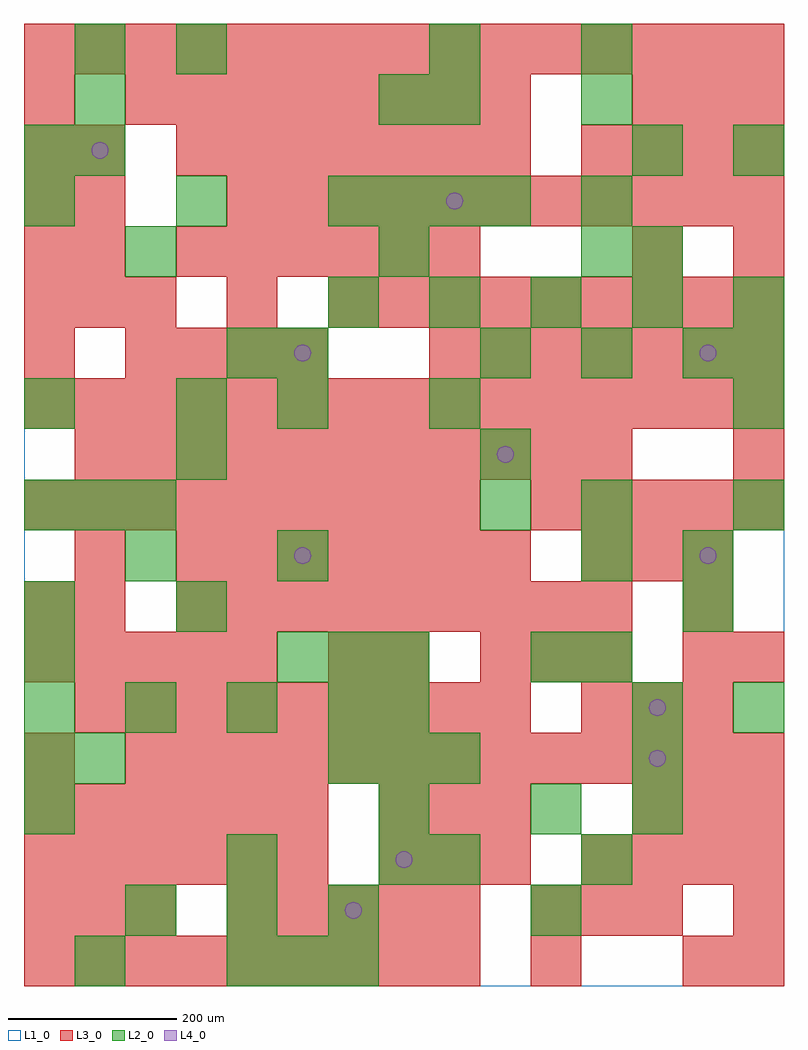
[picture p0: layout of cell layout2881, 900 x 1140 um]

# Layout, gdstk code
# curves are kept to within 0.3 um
import gdstk
lib = gdstk.Library(unit=1e-6, precision=1e-09)
def R(c, l, rs):  # rectangles x0, y0, x1, y1
    for r in rs: c.add(gdstk.rectangle(r[:2], r[2:], *l))
def A(c, l, x, y, w, h, nx, ny, dx, dy):  # array of equal rectangles
    R(c, l, [(x+i*dx, y+j*dy, x+i*dx+w, y+j*dy+h) for i in range(nx) for j in range(ny)])
def P(c, l, *ps):  # polygons
    for p in ps: c.add(gdstk.Polygon(p, *l))
L1_0 = (1, 0)
L2_0 = (2, 0)
L3_0 = (3, 0)
L4_0 = (4, 0)

layout2881 = lib.new_cell('layout2881')
R(layout2881, L1_0, [(0,0,900,1140)])
A(layout2881, L2_0, 240, 0, 60, 60, 3, 1, 60, 0)
A(layout2881, L2_0, 120, 60, 60, 60, 3, 1, 120, 0)
A(layout2881, L2_0, 720, 180, 60, 60, 1, 3, 0, 60)
A(layout2881, L2_0, 360, 240, 60, 60, 3, 1, 60, 0)
A(layout2881, L2_0, 0, 300, 60, 60, 4, 1, 120, 0)
A(layout2881, L2_0, 300, 360, 60, 60, 3, 1, 60, 0)
A(layout2881, L2_0, 0, 540, 60, 60, 3, 1, 60, 0)
A(layout2881, L2_0, 540, 720, 60, 60, 3, 1, 120, 0)
A(layout2881, L2_0, 360, 780, 60, 60, 5, 1, 120, 0)
A(layout2881, L2_0, 0, 900, 60, 60, 3, 1, 180, 0)
A(layout2881, L2_0, 420, 900, 60, 60, 3, 1, 60, 0)
A(layout2881, L2_0, 60, 960, 60, 60, 1, 3, 0, 60)
R(layout2881, L2_0, [(60,0,120,60), (600,60,660,120), (240,120,300,180), (420,120,480,180), (480,120,540,180), (660,120,720,180), (0,180,60,240), (420,180,480,240), (600,180,660,240), (0,240,60,300), (60,240,120,300), (420,300,480,360), (840,300,900,360), (0,360,60,420), (600,360,660,420), (660,360,720,420), (0,420,60,480), (180,420,240,480), (780,420,840,480), (120,480,180,540), (300,480,360,540), (660,480,720,540), (780,480,840,540), (540,540,600,600), (660,540,720,600), (840,540,900,600), (180,600,240,660), (540,600,600,660), (0,660,60,720), (180,660,240,720), (300,660,360,720), (480,660,540,720), (840,660,900,720), (240,720,300,780), (300,720,360,780), (840,720,900,780), (120,840,180,900), (420,840,480,900), (660,840,720,900), (720,840,780,900), (660,900,720,960), (0,960,60,1020), (720,960,780,1020), (840,960,900,1020), (420,1020,480,1080), (480,1020,540,1080), (660,1020,720,1080), (180,1080,240,1140), (480,1080,540,1140), (660,1080,720,1140)])
A(layout2881, L3_0, 0, 0, 60, 60, 9, 2, 60, 540)
A(layout2881, L3_0, 0, 60, 60, 60, 3, 2, 60, 720)
A(layout2881, L3_0, 240, 60, 60, 60, 5, 1, 60, 0)
A(layout2881, L3_0, 600, 60, 60, 60, 3, 1, 60, 0)
A(layout2881, L3_0, 0, 120, 60, 60, 6, 2, 60, 60)
A(layout2881, L3_0, 420, 120, 60, 60, 3, 2, 60, 60)
A(layout2881, L3_0, 660, 120, 60, 60, 4, 2, 60, 840)
A(layout2881, L3_0, 720, 180, 60, 60, 3, 2, 60, 840)
A(layout2881, L3_0, 120, 240, 60, 60, 13, 1, 60, 0)
A(layout2881, L3_0, 60, 300, 60, 60, 9, 1, 60, 0)
A(layout2881, L3_0, 660, 300, 60, 60, 3, 2, 60, 180)
A(layout2881, L3_0, 0, 360, 60, 60, 5, 1, 60, 0)
A(layout2881, L3_0, 540, 360, 60, 60, 3, 1, 60, 0)
A(layout2881, L3_0, 840, 360, 60, 60, 1, 3, 0, 240)
A(layout2881, L3_0, 180, 420, 60, 60, 9, 1, 60, 0)
A(layout2881, L3_0, 180, 480, 60, 60, 7, 2, 60, 480)
A(layout2881, L3_0, 600, 540, 60, 60, 5, 1, 60, 0)
A(layout2881, L3_0, 60, 600, 60, 60, 11, 1, 60, 0)
A(layout2881, L3_0, 0, 660, 60, 60, 15, 2, 60, 420)
A(layout2881, L3_0, 120, 720, 60, 60, 4, 1, 60, 0)
A(layout2881, L3_0, 480, 720, 60, 60, 7, 1, 60, 0)
A(layout2881, L3_0, 360, 780, 60, 60, 9, 1, 60, 0)
A(layout2881, L3_0, 0, 840, 60, 60, 1, 4, 0, 60)
A(layout2881, L3_0, 60, 840, 60, 60, 1, 3, 0, 60)
A(layout2881, L3_0, 180, 840, 60, 60, 6, 1, 60, 0)
A(layout2881, L3_0, 240, 900, 60, 60, 11, 1, 60, 0)
A(layout2881, L3_0, 120, 1020, 60, 60, 8, 1, 60, 0)
R(layout2881, L3_0, [(600,0,660,60), (780,0,840,60), (840,0,900,60), (840,60,900,120), (0,240,60,300), (360,360,420,420), (420,360,480,420), (780,360,840,420), (0,420,60,480), (60,420,120,480), (780,420,840,480), (60,480,120,540), (0,720,60,780), (240,780,300,840), (720,840,780,900)])
P(layout2881, L4_0, [(100,990),(99.239,993.827),(97.071,997.071),(93.827,999.239),(90,1000),(86.173,999.239),(82.929,997.071),(80.761,993.827),(80,990),(80.761,986.173),(82.929,982.929),(86.173,980.761),(90,980),(93.827,980.761),(97.071,982.929),(99.239,986.173)],
  [(340,510),(339.239,513.827),(337.071,517.071),(333.827,519.239),(330,520),(326.173,519.239),(322.929,517.071),(320.761,513.827),(320,510),(320.761,506.173),(322.929,502.929),(326.173,500.761),(330,500),(333.827,500.761),(337.071,502.929),(339.239,506.173)],
  [(340,750),(339.239,753.827),(337.071,757.071),(333.827,759.239),(330,760),(326.173,759.239),(322.929,757.071),(320.761,753.827),(320,750),(320.761,746.173),(322.929,742.929),(326.173,740.761),(330,740),(333.827,740.761),(337.071,742.929),(339.239,746.173)],
  [(400,90),(399.239,93.827),(397.071,97.071),(393.827,99.239),(390,100),(386.173,99.239),(382.929,97.071),(380.761,93.827),(380,90),(380.761,86.173),(382.929,82.929),(386.173,80.761),(390,80),(393.827,80.761),(397.071,82.929),(399.239,86.173)],
  [(460,150),(459.239,153.827),(457.071,157.071),(453.827,159.239),(450,160),(446.173,159.239),(442.929,157.071),(440.761,153.827),(440,150),(440.761,146.173),(442.929,142.929),(446.173,140.761),(450,140),(453.827,140.761),(457.071,142.929),(459.239,146.173)],
  [(520,930),(519.239,933.827),(517.071,937.071),(513.827,939.239),(510,940),(506.173,939.239),(502.929,937.071),(500.761,933.827),(500,930),(500.761,926.173),(502.929,922.929),(506.173,920.761),(510,920),(513.827,920.761),(517.071,922.929),(519.239,926.173)],
  [(580,630),(579.239,633.827),(577.071,637.071),(573.827,639.239),(570,640),(566.173,639.239),(562.929,637.071),(560.761,633.827),(560,630),(560.761,626.173),(562.929,622.929),(566.173,620.761),(570,620),(573.827,620.761),(577.071,622.929),(579.239,626.173)],
  [(760,270),(759.239,273.827),(757.071,277.071),(753.827,279.239),(750,280),(746.173,279.239),(742.929,277.071),(740.761,273.827),(740,270),(740.761,266.173),(742.929,262.929),(746.173,260.761),(750,260),(753.827,260.761),(757.071,262.929),(759.239,266.173)],
  [(760,330),(759.239,333.827),(757.071,337.071),(753.827,339.239),(750,340),(746.173,339.239),(742.929,337.071),(740.761,333.827),(740,330),(740.761,326.173),(742.929,322.929),(746.173,320.761),(750,320),(753.827,320.761),(757.071,322.929),(759.239,326.173)],
  [(820,510),(819.239,513.827),(817.071,517.071),(813.827,519.239),(810,520),(806.173,519.239),(802.929,517.071),(800.761,513.827),(800,510),(800.761,506.173),(802.929,502.929),(806.173,500.761),(810,500),(813.827,500.761),(817.071,502.929),(819.239,506.173)],
  [(820,750),(819.239,753.827),(817.071,757.071),(813.827,759.239),(810,760),(806.173,759.239),(802.929,757.071),(800.761,753.827),(800,750),(800.761,746.173),(802.929,742.929),(806.173,740.761),(810,740),(813.827,740.761),(817.071,742.929),(819.239,746.173)])

lib.write_gds('layout2881.gds')
